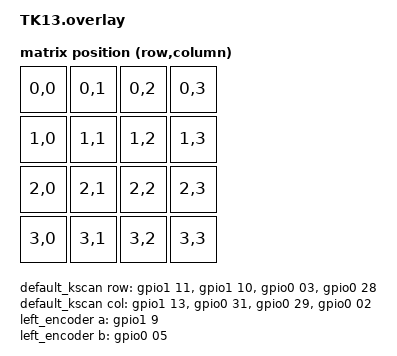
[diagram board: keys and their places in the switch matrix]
/*
 * Copyright (c) 2020 The ZMK Contributors
 *
 * SPDX-License-Identifier: MIT
 */

#include <dt-bindings/zmk/matrix_transform.h>

/ {
    chosen {
        zmk,kscan = &default_kscan;
        zmk,matrix_transform = &default_transform;
    };

    default_transform: keymap_transform_0 {
        compatible = "zmk,matrix-transform";
        rows = <4>;
        columns = <4>;

        map = <
          RC(0,0) RC(0,1) RC(0,2) RC(0,3) 
          RC(1,0) RC(1,1) RC(1,2) RC(1,3) 
          RC(2,0) RC(2,1) RC(2,2) RC(2,3) 
          RC(3,0) RC(3,1) RC(3,2) RC(3,3) 
          >;
    };

    default_kscan: kscan {
        compatible = "zmk,kscan-gpio-matrix";
        label = "KSCAN";

        diode-direction = "col2row";

        col-gpios = <&gpio1 13 GPIO_ACTIVE_HIGH>, 
                    <&gpio0 31 GPIO_ACTIVE_HIGH>,
                    <&gpio0 29 GPIO_ACTIVE_HIGH>,
                    <&gpio0 02 GPIO_ACTIVE_HIGH>
                    ; 
        row-gpios = <&gpio1 11 (GPIO_ACTIVE_HIGH | GPIO_PULL_DOWN)>,
                    <&gpio1 10 (GPIO_ACTIVE_HIGH | GPIO_PULL_DOWN)>,
                    <&gpio0 03 (GPIO_ACTIVE_HIGH | GPIO_PULL_DOWN)>,
                    <&gpio0 28 (GPIO_ACTIVE_HIGH | GPIO_PULL_DOWN)>
                    ;    
    };

    left_encoder: encoder_left {
        compatible = "alps,ec11";
        a-gpios = <&gpio1 9 (GPIO_ACTIVE_HIGH | GPIO_PULL_UP)>;
        b-gpios = <&gpio0 05 (GPIO_ACTIVE_HIGH | GPIO_PULL_UP)>;
        steps = <60>;
        status = "okay";
    };
    sensors: sensors {
        compatible = "zmk,keymap-sensors";
        sensors = <&left_encoder>;
        triggers-per-rotation = <30>;
    };
};
